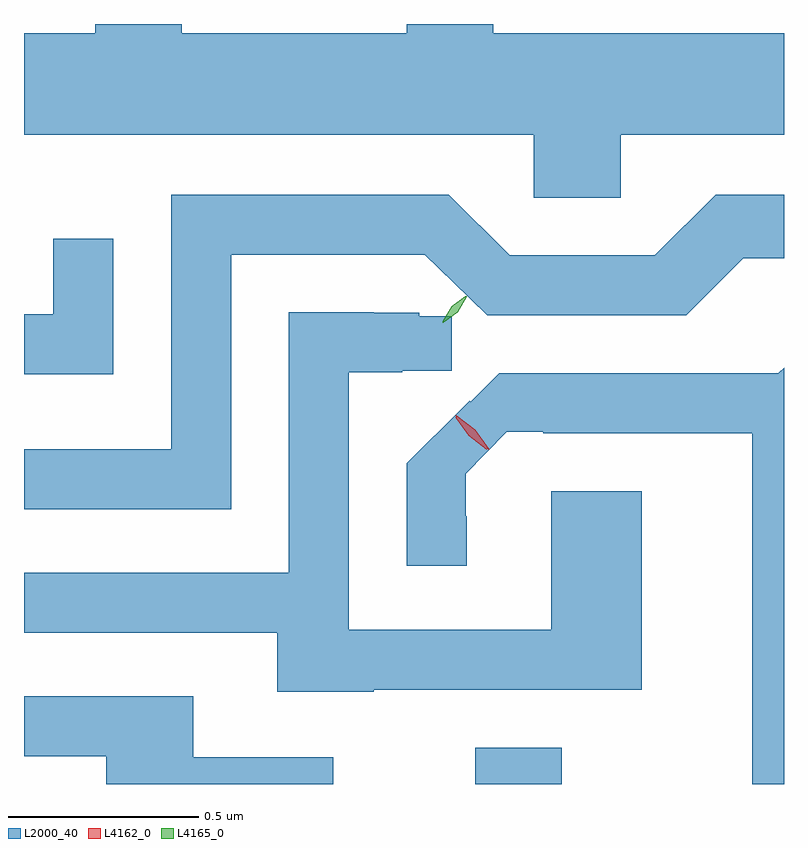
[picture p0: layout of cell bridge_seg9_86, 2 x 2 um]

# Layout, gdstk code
import gdstk
lib = gdstk.Library(unit=1e-6, precision=1e-09)
def R(c, l, rs):  # rectangles x0, y0, x1, y1
    for r in rs: c.add(gdstk.rectangle(r[:2], r[2:], *l))
def P(c, l, *ps):  # polygons
    for p in ps: c.add(gdstk.Polygon(p, *l))
L2000_40 = (2000, 40)
L4162_0 = (4162, 0)
L4165_0 = (4165, 0)

bridge_seg9_86 = lib.new_cell('bridge_seg9_86')
R(bridge_seg9_86, L2000_40, [(1907.311,2001.208,1907.539,2001.304)])
P(bridge_seg9_86, L2000_40, [(1907.694,2002.916),(1908.124,2002.916),(1908.124,2003.184),(1907.359,2003.184),(1907.359,2003.208),(1907.131,2003.208),(1907.131,2003.184),(1906.539,2003.184),(1906.539,2003.208),(1906.311,2003.208),(1906.311,2003.184),(1906.124,2003.184),(1906.124,2002.916),(1907.466,2002.916),(1907.466,2002.751),(1907.694,2002.751)],
  [(1906.669,2002.601),(1907.179,2002.601),(1907.253,2002.528),(1907.254,2002.529),(1907.343,2002.441),(1907.867,2002.441),(1908.017,2002.591),(1908.124,2002.591),(1908.124,2002.759),(1907.944,2002.759),(1907.784,2002.599),(1907.402,2002.599),(1907.242,2002.759),(1906.511,2002.759),(1906.511,2002.089),(1906.124,2002.089),(1906.124,2001.931),(1906.669,2001.931)],
  [(1906.359,2002.643),(1906.201,2002.643),(1906.201,2002.444),(1906.124,2002.444),(1906.124,2002.286),(1906.359,2002.286)],
  [(1907.045,2001.456),(1907.749,2001.456),(1907.749,2001.979),(1907.511,2001.979),(1907.511,2001.614),(1906.979,2001.614),(1906.979,2002.291),(1907.12,2002.291),(1907.12,2002.295),(1907.25,2002.295),(1907.25,2002.439),(1907.164,2002.439),(1907.164,2002.448),(1907.045,2002.448),(1907.045,2002.449),(1906.821,2002.449),(1906.821,2001.764),(1906.124,2001.764),(1906.124,2001.606),(1906.791,2001.606),(1906.791,2001.451),(1907.045,2001.451)],
  [(1908.124,2002.304),(1908.109,2002.289),(1907.374,2002.289),(1907.299,2002.214),(1907.297,2002.216),(1907.204,2002.123),(1907.203,2002.124),(1907.131,2002.052),(1907.131,2001.783),(1907.289,2001.783),(1907.289,2001.913),(1907.286,2001.913),(1907.286,2002.025),(1907.395,2002.135),(1907.49,2002.135),(1907.49,2002.131),(1908.041,2002.131),(1908.041,2001.208),(1908.124,2001.208)],
  [(1906.938,2001.279),(1906.569,2001.279),(1906.569,2001.439),(1906.124,2001.439),(1906.124,2001.281),(1906.341,2001.281),(1906.341,2001.208),(1906.938,2001.208)])
P(bridge_seg9_86, L4162_0, [(1907.347,2002.088),(1907.297,2002.126),(1907.26,2002.177),(1907.26,2002.178),(1907.261,2002.178),(1907.311,2002.14),(1907.348,2002.089),(1907.348,2002.088)],
  [(1907.342,2002.088),(1907.294,2002.124),(1907.26,2002.172),(1907.26,2002.173),(1907.261,2002.173),(1907.308,2002.137),(1907.342,2002.089),(1907.342,2002.088)])
P(bridge_seg9_86, L4165_0, [(1907.226,2002.425),(1907.226,2002.426),(1907.249,2002.465),(1907.285,2002.491),(1907.286,2002.491),(1907.286,2002.49),(1907.263,2002.451),(1907.227,2002.425)],
  [(1907.226,2002.422),(1907.226,2002.423),(1907.25,2002.463),(1907.288,2002.491),(1907.289,2002.491),(1907.289,2002.49),(1907.265,2002.45),(1907.227,2002.422)])

lib.write_gds('bridge_seg9_86.gds')
